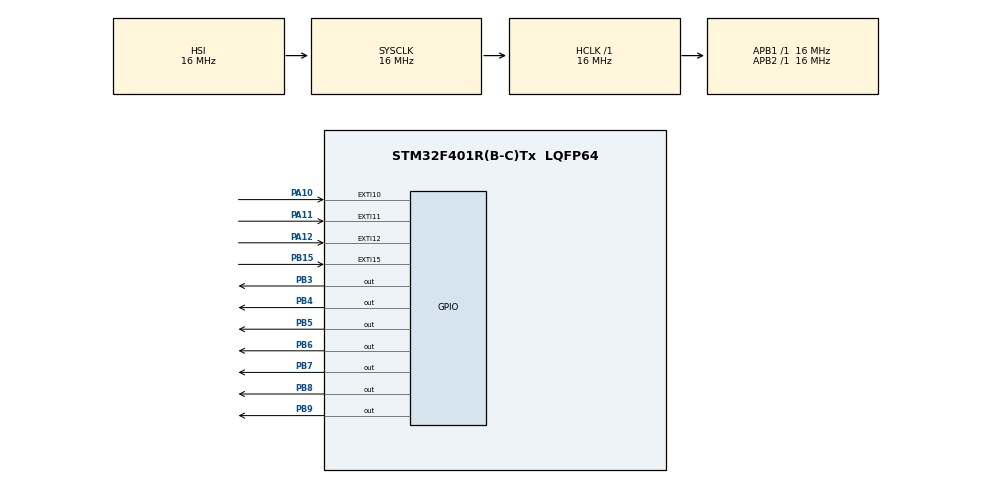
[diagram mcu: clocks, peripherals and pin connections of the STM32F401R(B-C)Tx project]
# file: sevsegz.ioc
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Mcu.Family=STM32F4
Mcu.Name=STM32F401R(B-C)Tx
Mcu.Package=LQFP64
NVIC.EXTI15_10_IRQn=true\:0\:0\:false\:false\:true\:true\:true
NVIC.PriorityGroup=NVIC_PRIORITYGROUP_4
PA10.GPIO_ModeDefaultEXTI=GPIO_MODE_IT_FALLING
PA10.GPIO_PuPd=GPIO_PULLUP
PA10.Signal=GPXTI10
PA11.GPIO_ModeDefaultEXTI=GPIO_MODE_IT_FALLING
PA11.GPIO_PuPd=GPIO_PULLUP
PA11.Signal=GPXTI11
PA12.GPIO_ModeDefaultEXTI=GPIO_MODE_IT_FALLING
PA12.GPIO_PuPd=GPIO_PULLUP
PA12.Signal=GPXTI12
PA13.Mode=Serial_Wire
PA13.Signal=SYS_JTMS-SWDIO
PA14.Mode=Serial_Wire
PA14.Signal=SYS_JTCK-SWCLK
PB15.GPIO_ModeDefaultEXTI=GPIO_MODE_IT_FALLING
PB15.GPIO_PuPd=GPIO_PULLUP
PB15.Signal=GPXTI15
PB3.Signal=GPIO_Output
PB4.Signal=GPIO_Output
PB5.Signal=GPIO_Output
PB6.Signal=GPIO_Output
PB7.Signal=GPIO_Output
PB8.Signal=GPIO_Output
PB9.Signal=GPIO_Output
PH0\ -\ OSC_IN.Mode=HSE-External-Oscillator
PH0\ -\ OSC_IN.Signal=RCC_OSC_IN
PH1\ -\ OSC_OUT.Mode=HSE-External-Oscillator
PH1\ -\ OSC_OUT.Signal=RCC_OSC_OUT
ProjectManager.HeapSize=0x200
ProjectManager.StackSize=0x400
ProjectManager.TargetToolchain=STM32CubeIDE
RCC.AHBFreq_Value=16000000
RCC.APB1Freq_Value=16000000
RCC.APB2Freq_Value=16000000
RCC.CortexFreq_Value=16000000
RCC.HSE_VALUE=25000000
RCC.HSI_VALUE=16000000
RCC.LSE_VALUE=32768
RCC.SYSCLKFreq_VALUE=16000000
RCC.VCOOutputFreq_Value=192000000
board=custom

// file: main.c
/* USER CODE BEGIN Header */
/**
  ******************************************************************************
  * @file           : main.c
  * @brief          : Main program body
  ******************************************************************************
  * @attention
  *
  * <h2><center>&copy; Copyright (c) 2026 STMicroelectronics.
  * All rights reserved.</center></h2>
  *
  * This software component is licensed by ST under BSD 3-Clause license,
  * the "License"; You may not use this file except in compliance with the
  * License. You may obtain a copy of the License at:
  *                        opensource.org/licenses/BSD-3-Clause
  *
  ******************************************************************************
  */
/* USER CODE END Header */
#include "main.h"

/* USER CODE BEGIN PV */
int index = 0;
/* USER CODE END PV */

void SystemClock_Config(void);
static void MX_GPIO_Init(void);

int main(void)
{

  /* MCU Configuration--------------------------------------------------------*/

  /* Reset of all peripherals, Initializes the Flash interface and the Systick. */
  HAL_Init();

  /* Configure the system clock */
  SystemClock_Config();

  /* Initialize all configured peripherals */
  MX_GPIO_Init();
  /* USER CODE BEGIN 2 */
  const uint16_t seg_digits[10] =
  {
      0b0111111000, //0
      0b0001001000, //1
      0b1011110000, //2
      0b1011011000, //3
      0b1101001000, //4
      0b1110011000, //5
      0b1110111000, //6
      0b0011001000, //7
      0b1111111000, //8
      0b1111011000, //9
  };

  /* USER CODE END 2 */

  /* Infinite loop */
  /* USER CODE BEGIN WHILE */
  while (1)
  {
	  GPIOB->ODR = seg_digits[index];
	  HAL_Delay(100);

    /* USER CODE END WHILE */

  }
}

void SystemClock_Config(void)
{
  RCC_OscInitTypeDef RCC_OscInitStruct = {0};
  RCC_ClkInitTypeDef RCC_ClkInitStruct = {0};

  /** Configure the main internal regulator output voltage
  */
  __HAL_RCC_PWR_CLK_ENABLE();
  __HAL_PWR_VOLTAGESCALING_CONFIG(PWR_REGULATOR_VOLTAGE_SCALE2);
  /** Initializes the RCC Oscillators according to the specified parameters
  * in the RCC_OscInitTypeDef structure.
  */
  RCC_OscInitStruct.OscillatorType = RCC_OSCILLATORTYPE_HSI;
  RCC_OscInitStruct.HSIState = RCC_HSI_ON;
  RCC_OscInitStruct.HSICalibrationValue = RCC_HSICALIBRATION_DEFAULT;
  RCC_OscInitStruct.PLL.PLLState = RCC_PLL_NONE;
  if (HAL_RCC_OscConfig(&RCC_OscInitStruct) != HAL_OK)
  {
    Error_Handler();
  }
  /** Initializes the CPU, AHB and APB buses clocks
  */
  RCC_ClkInitStruct.ClockType = RCC_CLOCKTYPE_HCLK|RCC_CLOCKTYPE_SYSCLK
                              |RCC_CLOCKTYPE_PCLK1|RCC_CLOCKTYPE_PCLK2;
  RCC_ClkInitStruct.SYSCLKSource = RCC_SYSCLKSOURCE_HSI;
  RCC_ClkInitStruct.AHBCLKDivider = RCC_SYSCLK_DIV1;
  RCC_ClkInitStruct.APB1CLKDivider = RCC_HCLK_DIV1;
  RCC_ClkInitStruct.APB2CLKDivider = RCC_HCLK_DIV1;

  if (HAL_RCC_ClockConfig(&RCC_ClkInitStruct, FLASH_LATENCY_0) != HAL_OK)
  {
    Error_Handler();
  }
}

static void MX_GPIO_Init(void)
{
  GPIO_InitTypeDef GPIO_InitStruct = {0};

  /* GPIO Ports Clock Enable */
  __HAL_RCC_GPIOH_CLK_ENABLE();
  __HAL_RCC_GPIOB_CLK_ENABLE();
  __HAL_RCC_GPIOA_CLK_ENABLE();

  /*Configure GPIO pin Output Level */
  HAL_GPIO_WritePin(GPIOB, GPIO_PIN_3|GPIO_PIN_4|GPIO_PIN_5|GPIO_PIN_6
                          |GPIO_PIN_7|GPIO_PIN_8|GPIO_PIN_9, GPIO_PIN_RESET);

  /*Configure GPIO pin : PB15 */
  GPIO_InitStruct.Pin = GPIO_PIN_15;
  GPIO_InitStruct.Mode = GPIO_MODE_IT_FALLING;
  GPIO_InitStruct.Pull = GPIO_PULLUP;
  HAL_GPIO_Init(GPIOB, &GPIO_InitStruct);

  /*Configure GPIO pins : PA10 PA11 PA12 */
  GPIO_InitStruct.Pin = GPIO_PIN_10|GPIO_PIN_11|GPIO_PIN_12;
  GPIO_InitStruct.Mode = GPIO_MODE_IT_FALLING;
  GPIO_InitStruct.Pull = GPIO_PULLUP;
  HAL_GPIO_Init(GPIOA, &GPIO_InitStruct);

  /*Configure GPIO pins : PB3 PB4 PB5 PB6
                           PB7 PB8 PB9 */
  GPIO_InitStruct.Pin = GPIO_PIN_3|GPIO_PIN_4|GPIO_PIN_5|GPIO_PIN_6
                          |GPIO_PIN_7|GPIO_PIN_8|GPIO_PIN_9;
  GPIO_InitStruct.Mode = GPIO_MODE_OUTPUT_PP;
  GPIO_InitStruct.Pull = GPIO_NOPULL;
  GPIO_InitStruct.Speed = GPIO_SPEED_FREQ_LOW;
  HAL_GPIO_Init(GPIOB, &GPIO_InitStruct);

  /* EXTI interrupt init*/
  HAL_NVIC_SetPriority(EXTI15_10_IRQn, 0, 0);
  HAL_NVIC_EnableIRQ(EXTI15_10_IRQn);

}

void Error_Handler(void)
{
  __disable_irq();
  while (1)
  {
  }
}

/************************ (C) COPYRIGHT STMicroelectronics *****END OF FILE****/
